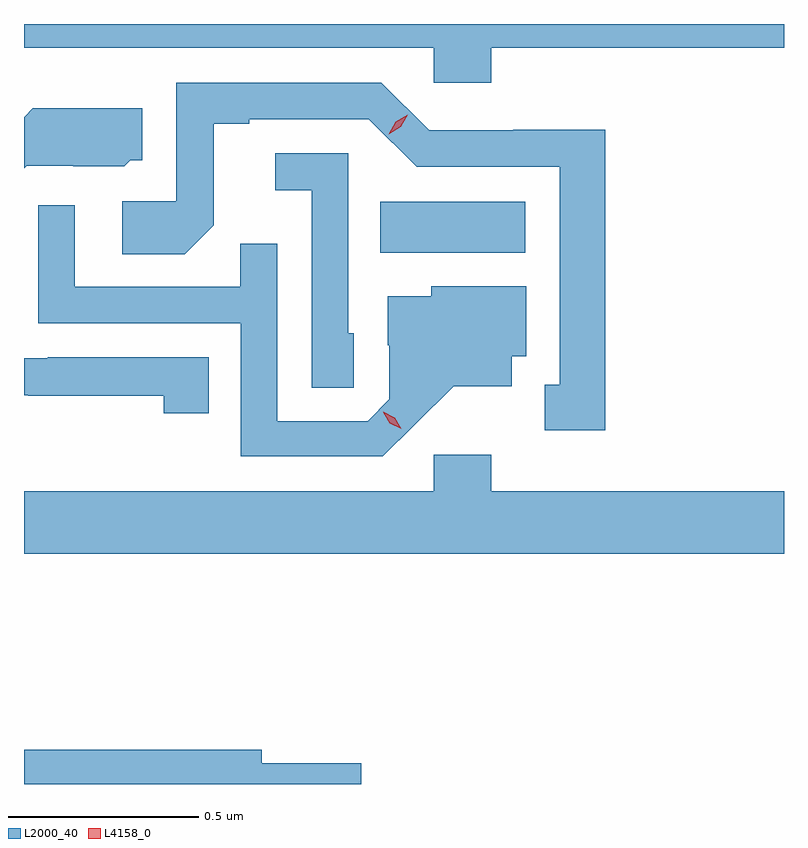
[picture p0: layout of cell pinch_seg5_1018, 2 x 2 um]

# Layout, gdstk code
import gdstk
lib = gdstk.Library(unit=1e-6, precision=1e-09)
def R(c, l, rs):  # rectangles x0, y0, x1, y1
    for r in rs: c.add(gdstk.rectangle(r[:2], r[2:], *l))
def P(c, l, *ps):  # polygons
    for p in ps: c.add(gdstk.Polygon(p, *l))
L2000_40 = (2000, 40)
L4158_0 = (4158, 0)

pinch_seg5_1018 = lib.new_cell('pinch_seg5_1018')
R(pinch_seg5_1018, L2000_40, [(734.548,874.868,734.929,875.002)])
P(pinch_seg5_1018, L2000_40, [(734.84,875.408),(735.61,875.408),(735.61,875.47),(733.61,875.47),(733.61,875.408),(734.688,875.408),(734.688,875.315),(734.84,875.315)],
  [(735.139,875.192),(734.898,875.192),(734.898,875.19),(734.676,875.19),(734.55,875.316),(734.01,875.316),(734.01,875.004),(733.869,875.004),(733.869,874.864),(734.033,874.864),(734.109,874.94),(734.109,875.208),(734.203,875.208),(734.203,875.22),(734.517,875.22),(734.643,875.094),(735.02,875.094),(735.02,874.521),(734.981,874.521),(734.981,874.401),(735.139,874.401)],
  [(733.617,875.097),(733.74,875.097),(733.74,875.096),(733.874,875.096),(733.89,875.112),(733.921,875.112),(733.921,875.248),(733.633,875.248),(733.61,875.225),(733.61,875.09)],
  [(734.478,874.656),(734.463,874.656),(734.463,875.13),(734.271,875.13),(734.271,875.033),(734.367,875.033),(734.367,874.513),(734.478,874.513)],
  [(734.638,874.415),(734.741,874.517),(734.893,874.517),(734.893,874.596),(734.932,874.596),(734.932,874.78),(734.682,874.78),(734.682,874.753),(734.567,874.753),(734.567,874.624),(734.571,874.624),(734.571,874.482),(734.514,874.425),(734.277,874.425),(734.277,874.892),(734.179,874.892),(734.179,874.779),(733.743,874.779),(733.743,874.993),(733.647,874.993),(733.647,874.683),(734.181,874.683),(734.181,874.332),(734.554,874.332)],
  [(734.096,874.593),(733.672,874.593),(733.672,874.59),(733.61,874.59),(733.61,874.493),(733.621,874.493),(733.621,874.492),(733.978,874.492),(733.978,874.446),(734.096,874.446)],
  [(735.61,874.24),(734.84,874.24),(734.84,874.336),(734.688,874.336),(734.688,874.24),(733.61,874.24),(733.61,874.076),(735.61,874.076)],
  [(734.497,873.524),(734.236,873.524),(734.236,873.56),(733.61,873.56),(733.61,873.47),(734.497,873.47)])
P(pinch_seg5_1018, L4158_0, [(734.57,875.18),(734.57,875.18),(734.588,875.213),(734.62,875.231),(734.62,875.231),(734.62,875.231),(734.602,875.199),(734.57,875.18)],
  [(734.603,874.405),(734.572,874.419),(734.555,874.448),(734.555,874.449),(734.555,874.449),(734.586,874.434),(734.603,874.405),(734.603,874.405)])

lib.write_gds('pinch_seg5_1018.gds')
